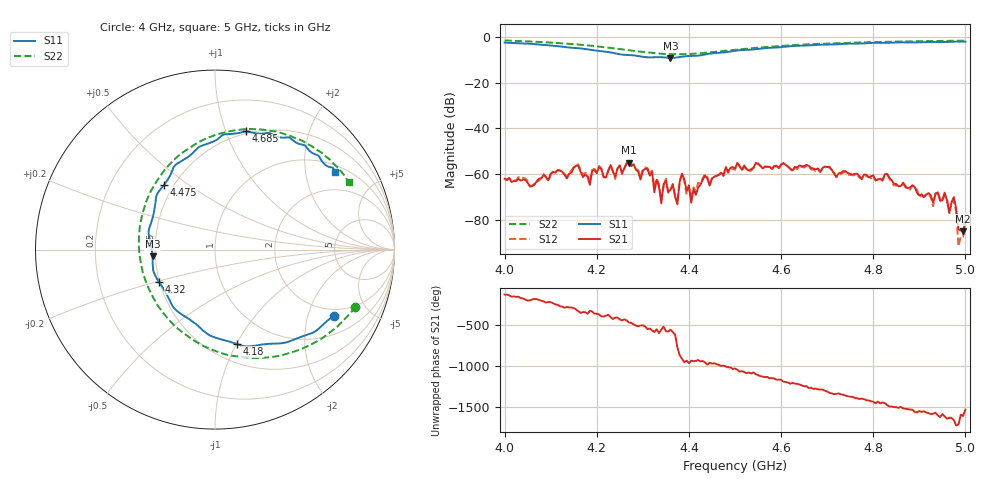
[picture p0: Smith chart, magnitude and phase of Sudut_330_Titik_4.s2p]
# Hz S RI R 50
! CMT, C1220, 16058040, 17.2.0/1
! Date: 15/08/2018 12:34:42
! Data: Format (Calibration Info)
! Freq  S11: Re/Im (F2)  S21: Re/Im (F2)  S12: Re/Im (F2)  S22: Re/Im (F2)
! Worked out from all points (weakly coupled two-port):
!   201 points, 4 GHz to 5 GHz, reference 50 ohm
!   highest |S21| = -55.07 dB at 4.27 GHz (marker M1); lowest = -85.2 dB at 4.995 GHz (marker M2)
!   lowest |S11| = -9.1 dB at 4.36 GHz (marker M3), VSWR 2.08, Z = 24.1 - j2 ohm
!   |S11| at or under -10 dB: nowhere
!   |S22| runs from -7.5 to -1.5 dB; largest |S21 - S12| = 0.00016
!   S11 on the Smith chart (normalised r, x): 4 GHz: 1.71, -2.96; 4.18 GHz: 0.68, -1.00; 4.32 GHz: 0.50, -0.20; 4.475 GHz: 0.44, +0.41; 4.685 GHz: 0.48, +1.18; 5 GHz: 1.22, +2.89
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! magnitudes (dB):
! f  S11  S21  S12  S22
! 4 GHz  -2.4  -62.1  -62.3  -1.5
! 4.17 GHz  -5.1  -61.3  -60.4  -3.4
! 4.18 GHz  -5.4  -61.2  -60.0  -3.6
! 4.27 GHz  -7.9  -55.1  -55.1  -5.7
! 4.32 GHz  -8.9  -59.1  -58.6  -6.9
! 4.335 GHz  -8.8  -65.5  -64.4  -7.2
! 4.34 GHz  -8.8  -72.9  -71.5  -7.3
! 4.35 GHz  -9.0  -62.8  -62.0  -7.4
! 4.36 GHz  -9.1  -67.0  -67.0  -7.5
! 4.375 GHz  -8.9  -73.3  -71.1  -7.5
! 4.385 GHz  -8.6  -60.0  -60.0  -7.5
! 4.405 GHz  -8.3  -72.6  -71.0  -7.4
! 4.475 GHz  -6.8  -60.5  -61.0  -6.1
! 4.5 GHz  -6.0  -57.7  -58.2  -5.6
! 4.67 GHz  -3.5  -57.6  -58.1  -3.1
! 4.685 GHz  -3.3  -59.0  -59.1  -2.9
! 4.835 GHz  -2.5  -61.7  -62.0  -2.0
! 4.955 GHz  -2.2  -68.2  -69.1  -1.7
! 4.965 GHz  -2.1  -77.2  -76.3  -1.6
! 4.975 GHz  -2.0  -70.2  -71.5  -1.6
! 4.995 GHz  -2.0  -85.2  -87.5  -1.6
! 5 GHz  -2.0  -80.6  -81.3  -1.6
